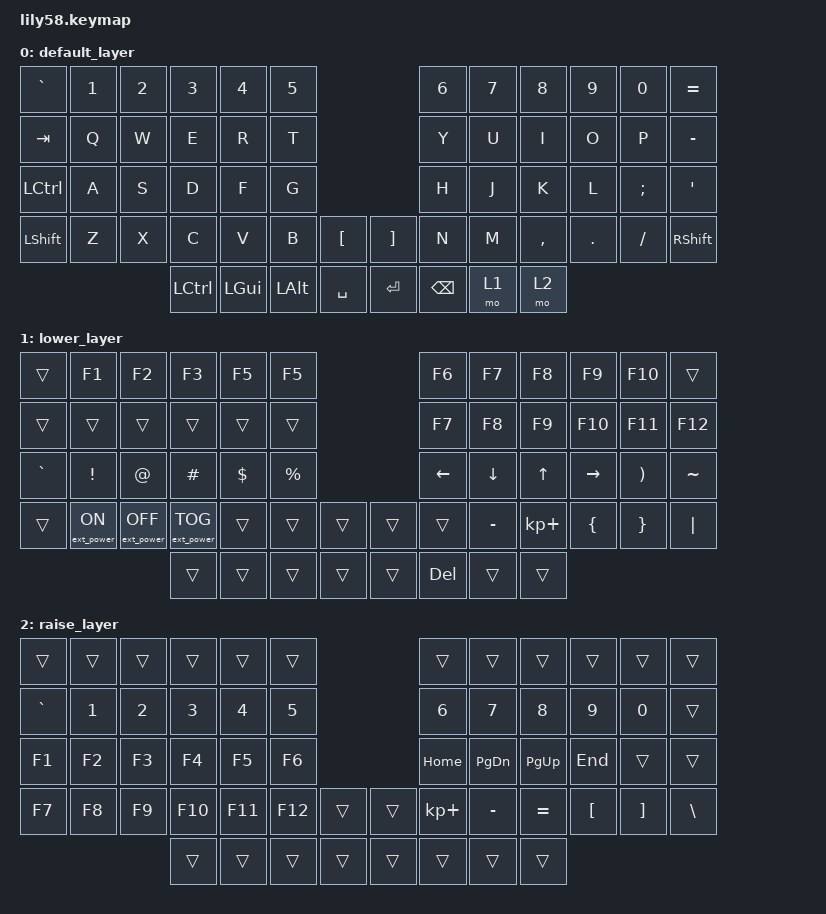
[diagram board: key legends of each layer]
/*
 * Copyright (c) 2020 The ZMK Contributors
 *
 * SPDX-License-Identifier: MIT
 */

#include <behaviors.dtsi>
#include <dt-bindings/zmk/ext_power.h>
#include <dt-bindings/zmk/keys.h>

/ {
    keymap {
        compatible = "zmk,keymap";

        default_layer {
            // ------------------------------------------------------------------------------------------------------------
            // |  ESC  |  1  |  2  |  3   |  4   |  5   |                   |  6   |  7    |  8    |  9   |   0   |   `   |
            // |  TAB  |  Q  |  W  |  E   |  R   |  T   |                   |  Y   |  U    |  I    |  O   |   P   |   -   |
            // |  CTRL |  A  |  S  |  D   |  F   |  G   |                   |  H   |  J    |  K    |  L   |   ;   |   '   |
            // | SHIFT |  Z  |  X  |  C   |  V   |  B   |   "["  |  |  "]"  |  N   |  M    |  ,    |  .   |   /   | SHIFT |
            //                     | ALT  | GUI  | LOWER|  SPACE |  | ENTER | RAISE| BSPC  | GUI   |

            bindings = <
&kp GRAVE  &kp N1  &kp N2  &kp N3     &kp N4    &kp N5                           &kp N6         &kp N7  &kp N8     &kp N9   &kp N0    &kp EQUAL
&kp TAB    &kp Q   &kp W   &kp E      &kp R     &kp T                            &kp Y          &kp U   &kp I      &kp O    &kp P     &kp MINUS
&kp LCTRL  &kp A   &kp S   &kp D      &kp F     &kp G                            &kp H          &kp J   &kp K      &kp L    &kp SEMI  &kp SQT
&kp LSHFT  &kp Z   &kp X   &kp C      &kp V     &kp B     &kp LBKT     &kp RBKT  &kp N          &kp M   &kp COMMA  &kp DOT  &kp FSLH  &kp RSHFT
                           &kp LCTRL  &kp LGUI  &kp LALT  &kp SPACE    &kp RET   &kp BACKSPACE  &mo 1   &mo 2
            >;
        };

        lower_layer {
            // ------------------------------------------------------------------------------------------------------------
            // | BTCLR | BT1 | BT2 |  BT3 |  BT4 |  BT5 |                   |      |       |       |      |       |       |
            // |  F1   |  F2 |  F3 |  F4  |  F5  |  F6  |                   |  F7  |  F8   |  F9   |  F10 |  F11  |  F12  |
            // |   `   |  !  |  @  |  #   |  $   |  %   |                   |  ^   |  &    |  *    |  (   |   )   |   ~   |
            // |       |     |     |      |      |      |        |  |       |      |  _    |  +    |  {   |   }   |  "|"  |
            //                     |      |      |      |        |  |       |      |       |       |

            bindings = <
&trans     &kp F1            &kp F2             &kp F3             &kp F5      &kp F5                       &kp F6          &kp F7          &kp F8        &kp F9           &kp F10   &trans
&trans     &trans            &trans             &trans             &trans      &trans                       &kp F7          &kp F8          &kp F9        &kp F10          &kp F11   &kp F12
&kp GRAVE  &kp EXCL          &kp AT             &kp HASH           &kp DOLLAR  &kp PRCNT                    &kp LEFT_ARROW  &kp DOWN_ARROW  &kp UP_ARROW  &kp RIGHT_ARROW  &kp RPAR  &kp TILDE
&trans     &ext_power EP_ON  &ext_power EP_OFF  &ext_power EP_TOG  &trans      &trans     &trans    &trans  &trans          &kp MINUS       &kp KP_PLUS   &kp LBRC         &kp RBRC  &kp PIPE
                                                &trans             &trans      &trans     &trans    &trans  &kp DELETE      &trans          &trans
            >;
        };

        raise_layer {
            // ------------------------------------------------------------------------------------------------------------
            // |       |     |     |      |      |      |                   |      |       |       |      |       |       |
            // |   `   |  1  |  2  |  3   |  4   |  5   |                   |  6   |   7   |   8   |  9   |   0   |       |
            // |   F1  |  F2 |  F3 |  F4  |  F5  |  F6  |                   |      |   <-  |   v   |  ^   |  ->   |       |
            // |   F7  |  F8 |  F9 |  F10 |  F11 |  F12 |        |  |       |  +   |   -   |   =   |  [   |   ]   |   \   |
            //                     |      |      |      |        |  |       |      |       |       |

            bindings = <
&trans     &trans  &trans  &trans   &trans   &trans                     &trans       &trans         &trans       &trans    &trans    &trans
&kp GRAVE  &kp N1  &kp N2  &kp N3   &kp N4   &kp N5                     &kp N6       &kp N7         &kp N8       &kp N9    &kp N0    &trans
&kp F1     &kp F2  &kp F3  &kp F4   &kp F5   &kp F6                     &kp HOME     &kp PAGE_DOWN  &kp PAGE_UP  &kp END   &trans    &trans
&kp F7     &kp F8  &kp F9  &kp F10  &kp F11  &kp F12  &trans    &trans  &kp KP_PLUS  &kp MINUS      &kp EQUAL    &kp LBKT  &kp RBKT  &kp BSLH
                           &trans   &trans   &trans   &trans    &trans  &trans       &trans         &trans
            >;
        };
    };
};
